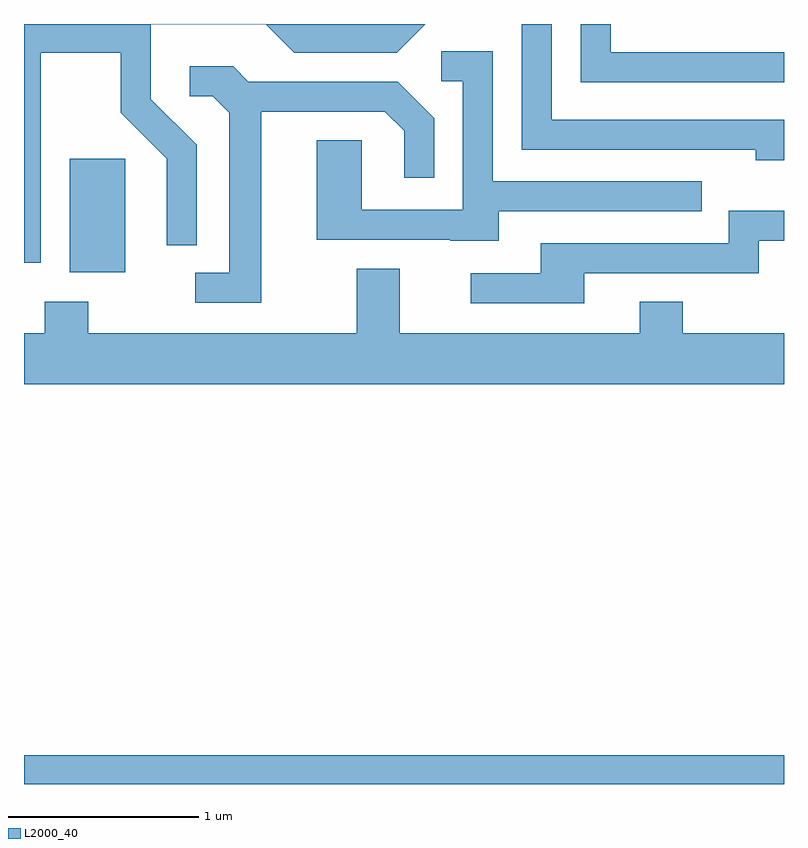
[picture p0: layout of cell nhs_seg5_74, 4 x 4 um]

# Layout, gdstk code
import gdstk
lib = gdstk.Library(unit=1e-6, precision=1e-09)
def R(c, l, rs):  # rectangles x0, y0, x1, y1
    for r in rs: c.add(gdstk.rectangle(r[:2], r[2:], *l))
def P(c, l, *ps):  # polygons
    for p in ps: c.add(gdstk.Polygon(p, *l))
L2000_40 = (2000, 40)

nhs_seg5_74 = lib.new_cell('nhs_seg5_74')
R(nhs_seg5_74, L2000_40, [(187.611,1408.072,191.611,1408.224), (187.851,1410.766,188.144,1411.364)])
P(nhs_seg5_74, L2000_40, [(187.699,1411.921),(188.121,1411.921),(188.121,1411.604),(188.361,1411.364),(188.361,1410.908),(188.519,1410.908),(188.519,1411.437),(188.279,1411.677),(188.279,1412.071),(188.884,1412.071),(189.034,1411.921),(189.572,1411.921),(189.723,1412.072),(187.611,1412.072),(187.611,1410.816),(187.699,1410.816)],
  [(191.611,1411.569),(190.389,1411.569),(190.389,1412.072),(190.231,1412.072),(190.231,1411.411),(191.461,1411.411),(191.461,1411.356),(191.611,1411.356)],
  [(191.611,1411.924),(190.699,1411.924),(190.699,1412.072),(190.541,1412.072),(190.541,1411.766),(191.611,1411.766)],
  [(190.109,1411.086),(191.178,1411.086),(191.178,1411.244),(190.079,1411.244),(190.079,1411.929),(189.808,1411.929),(189.808,1411.771),(189.921,1411.771),(189.921,1411.094),(189.389,1411.094),(189.389,1411.459),(189.151,1411.459),(189.151,1410.936),(189.855,1410.936),(189.855,1410.931),(190.109,1410.931)],
  [(188.859,1411.611),(189.509,1411.611),(189.611,1411.509),(189.611,1411.263),(189.769,1411.263),(189.769,1411.577),(189.577,1411.769),(188.792,1411.769),(188.712,1411.849),(188.483,1411.849),(188.483,1411.691),(188.604,1411.691),(188.691,1411.604),(188.691,1410.764),(188.513,1410.764),(188.513,1410.606),(188.859,1410.606)],
  [(190.559,1410.761),(191.479,1410.761),(191.479,1410.931),(191.611,1410.931),(191.611,1411.089),(191.321,1411.089),(191.321,1410.919),(190.331,1410.919),(190.331,1410.759),(189.963,1410.759),(189.963,1410.601),(190.559,1410.601)],
  [(191.611,1410.444),(191.079,1410.444),(191.079,1410.609),(190.851,1410.609),(190.851,1410.444),(189.589,1410.444),(189.589,1410.784),(189.361,1410.784),(189.361,1410.444),(187.949,1410.444),(187.949,1410.609),(187.721,1410.609),(187.721,1410.444),(187.611,1410.444),(187.611,1410.176),(191.611,1410.176)])

lib.write_gds('nhs_seg5_74.gds')
